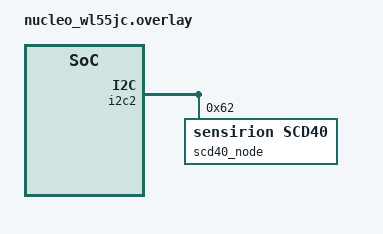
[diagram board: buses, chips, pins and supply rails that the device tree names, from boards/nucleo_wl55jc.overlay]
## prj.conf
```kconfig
# Kernel
#CONFIG_MAIN_STACK_SIZE=2048 # Adjust if needed, printk and sensor drivers might need more stack

# Enable I2C driver
CONFIG_I2C=y

# Enable Sensor API
CONFIG_SENSOR=y

# Enable Sensirion SCD4X driver
CONFIG_SCD4X=y

# For printing floating point numbers with printk
# If you use printf from newlib, you might need:
# CONFIG_NEWLIB_LIBC=y
# CONFIG_NEWLIB_LIBC_FLOAT_PRINTF=y
# For printk, the following is usually sufficient for basic float support
CONFIG_CBPRINTF_FP_SUPPORT=y # For printk float support
 
# Enable printk for output
CONFIG_PRINTK=y

# If you want to use Zephyr's logging subsystem instead of printk:
# CONFIG_LOG=y
# CONFIG_LOG_DEFAULT_LEVEL=3 # Or 4 for debug
# CONFIG_SENSOR_LOG_LEVEL_DBG=y # For debugging sensor driver issues
```

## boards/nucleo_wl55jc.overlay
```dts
 / {
    aliases {
        /* Create an alias for easier access in the application code */
        scd40 = &scd40_node;
    };
};


&i2c2 { 
    status = "okay"; /* Ensure the I2C controller is enabled */
    /*
     * Add the SCD40 sensor node as a child of the I2C2 controller.
     * The node label 'scd40_node' is used for the alias above.
     * The I2C address for SCD40/SCD41 is 0x62.
     */
    scd40_node: scd40@62 {
        compatible = "sensirion,scd40";
        reg = <0x62>; /* I2C device address as specifed in the doc : https://docs.m5stack.com/en/unit/co2 */
        status = "okay";
    };
};
```

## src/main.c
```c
 #include <zephyr/kernel.h>
 #include <zephyr/device.h>
 #include <zephyr/devicetree.h>
 #include <zephyr/drivers/sensor.h>
 #include <zephyr/sys/printk.h> // For printk
 #include <stdio.h> 

 static const struct device *const scd4x_dev = DEVICE_DT_GET(DT_ALIAS(scd40));
 
 int main(void)
 {
	 struct sensor_value co2, temp, humidity;
 
	 printk("SCD40 Sensor Example Application\n");
 
	 /* Check if the device is ready */
	 if (!device_is_ready(scd4x_dev)) {
		 printk("Error: SCD40 sensor device not ready.\n");
		 return 1; // Return an error code
	 } else {
		 printk("SCD40 sensor device is ready.\n");
	 }
 
	 /* Main loop to periodically fetch and print sensor data */
	 while (1) {
		 /* Fetch all samples from the sensor */
		 if (sensor_sample_fetch(scd4x_dev) != 0) {
			 printk("Error: Failed to fetch sample from SCD40.\n");
		 } else {
			 /* Get CO2 concentration */
			 if (sensor_channel_get(scd4x_dev, SENSOR_CHAN_CO2, &co2) != 0) {
				 printk("Error: Failed to get CO2 data.\n");
			 } else {
				 printk("CO2: %.0f ppm\n", sensor_value_to_double(&co2));
			 }
 
			 /* Get temperature */
			 if (sensor_channel_get(scd4x_dev, SENSOR_CHAN_AMBIENT_TEMP, &temp) != 0) {
				 printk("Error: Failed to get temperature data.\n");
			 } else {
				 printk("Temperature: %.2f °C\n", sensor_value_to_double(&temp));
			 }
 
			 /* Get relative humidity */
			 if (sensor_channel_get(scd4x_dev, SENSOR_CHAN_HUMIDITY, &humidity) != 0) {
				 printk("Error: Failed to get humidity data.\n");
			 } else {
				 printk("Humidity: %.2f %%\n", sensor_value_to_double(&humidity));
			 }
			 printk("--------------------------------------\n");
		 }
 
		 /* Wait before taking the next measurement */
		 k_sleep(K_SECONDS(5)); // Read every 5 seconds
	 }
	 return 0; // Should not be reached in this example
 }
 
```
